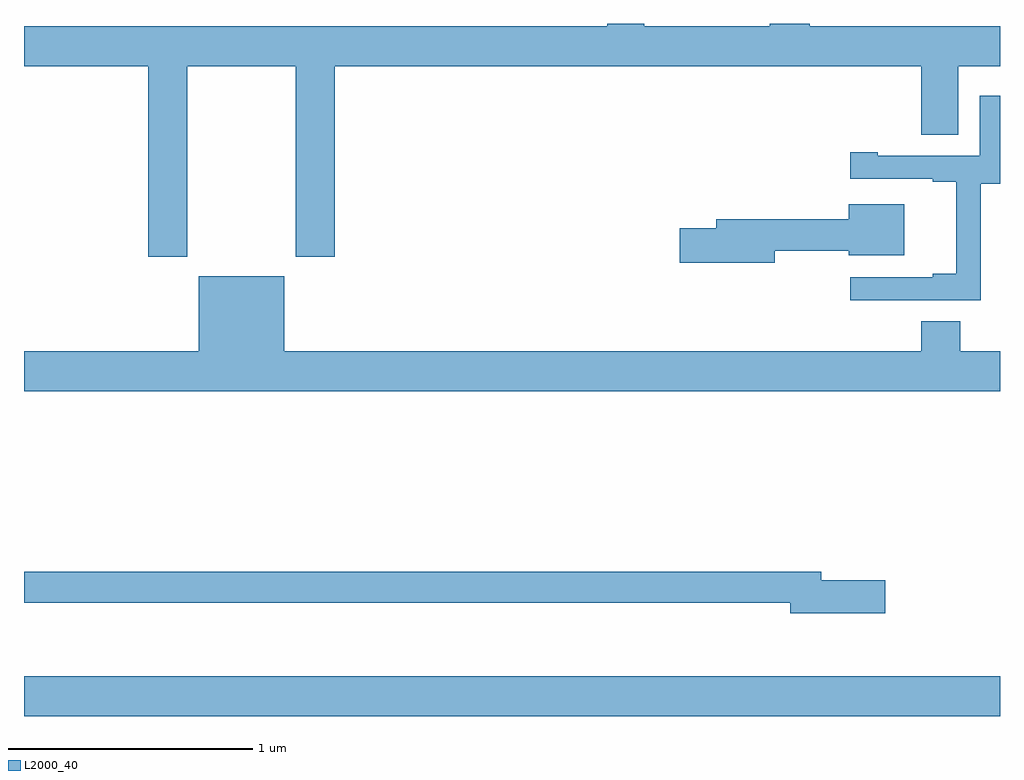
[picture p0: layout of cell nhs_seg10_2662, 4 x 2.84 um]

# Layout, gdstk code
import gdstk
lib = gdstk.Library(unit=1e-6, precision=1e-09)
def R(c, l, rs):  # rectangles x0, y0, x1, y1
    for r in rs: c.add(gdstk.rectangle(r[:2], r[2:], *l))
def P(c, l, *ps):  # polygons
    for p in ps: c.add(gdstk.Polygon(p, *l))
L2000_40 = (2000, 40)

nhs_seg10_2662 = lib.new_cell('nhs_seg10_2662')
R(nhs_seg10_2662, L2000_40, [(255,1289.66,259,1289.824)])
P(nhs_seg10_2662, L2000_40, [(255.669,1292.324),(256.114,1292.324),(256.114,1291.545),(256.274,1291.545),(256.274,1292.324),(258.677,1292.324),(258.677,1292.044),(258.829,1292.044),(258.829,1292.324),(259,1292.324),(259,1292.488),(258.221,1292.488),(258.221,1292.5),(258.056,1292.5),(258.056,1292.488),(257.543,1292.488),(257.543,1292.5),(257.391,1292.5),(257.391,1292.488),(255,1292.488),(255,1292.324),(255.509,1292.324),(255.509,1291.545),(255.669,1291.545)],
  [(258.921,1291.843),(259,1291.843),(259,1292.205),(258.918,1292.205),(258.918,1291.959),(258.499,1291.959),(258.499,1291.972),(258.387,1291.972),(258.387,1291.863),(258.725,1291.863),(258.725,1291.851),(258.821,1291.851),(258.821,1291.474),(258.725,1291.474),(258.725,1291.461),(258.387,1291.461),(258.387,1291.365),(258.921,1291.365)],
  [(258.076,1291.569),(258.38,1291.569),(258.38,1291.55),(258.607,1291.55),(258.607,1291.759),(258.38,1291.759),(258.38,1291.697),(257.837,1291.697),(257.837,1291.661),(257.688,1291.661),(257.688,1291.519),(258.076,1291.519)],
  [(259,1291.156),(258.837,1291.156),(258.837,1291.28),(258.677,1291.28),(258.677,1291.156),(256.066,1291.156),(256.066,1291.465),(255.716,1291.465),(255.716,1291.156),(255,1291.156),(255,1290.992),(259,1290.992)],
  [(258.529,1290.218),(258.268,1290.218),(258.268,1290.254),(255,1290.254),(255,1290.126),(258.14,1290.126),(258.14,1290.083),(258.529,1290.083)])

lib.write_gds('nhs_seg10_2662.gds')
